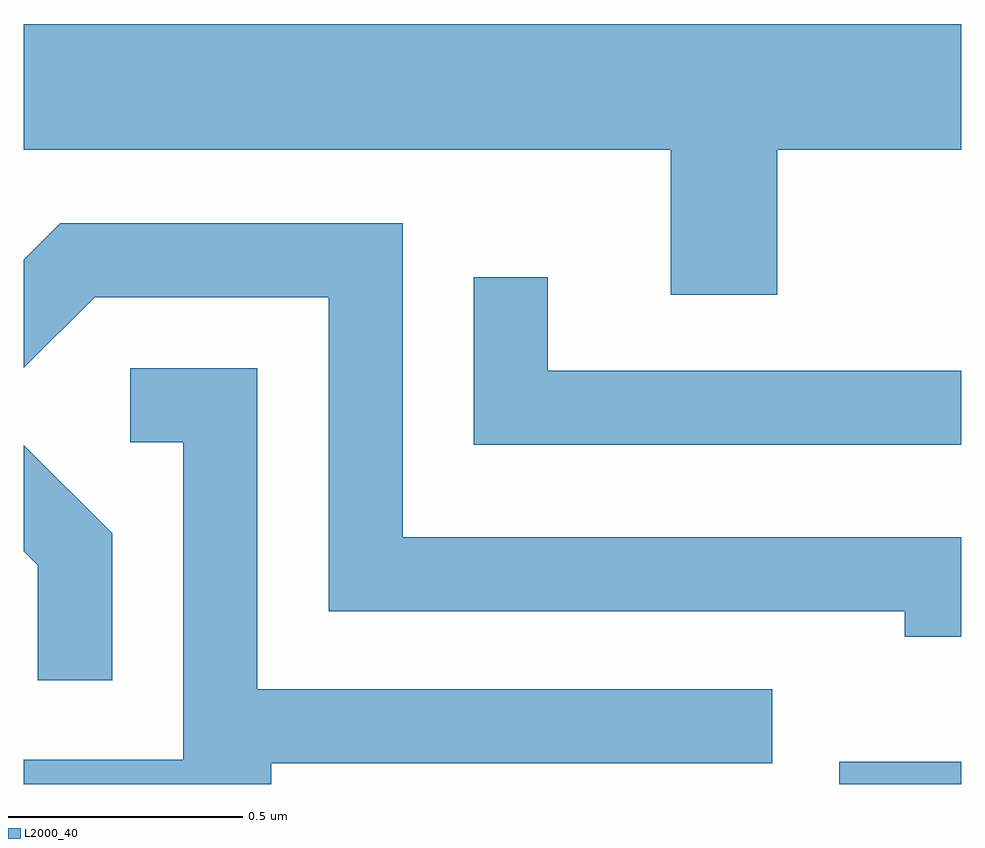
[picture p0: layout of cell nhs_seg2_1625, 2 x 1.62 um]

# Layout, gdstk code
import gdstk
lib = gdstk.Library(unit=1e-6, precision=1e-09)
def R(c, l, rs):  # rectangles x0, y0, x1, y1
    for r in rs: c.add(gdstk.rectangle(r[:2], r[2:], *l))
def P(c, l, *ps):  # polygons
    for p in ps: c.add(gdstk.Polygon(p, *l))
L2000_40 = (2000, 40)

nhs_seg2_1625 = lib.new_cell('nhs_seg2_1625')
R(nhs_seg2_1625, L2000_40, [(198.351,1095.802,198.611,1095.849)])
P(nhs_seg2_1625, L2000_40, [(198.219,1097.156),(198.611,1097.156),(198.611,1097.424),(196.611,1097.424),(196.611,1097.156),(197.991,1097.156),(197.991,1096.846),(198.219,1096.846)],
  [(198.611,1096.329),(197.419,1096.329),(197.419,1096.999),(196.689,1096.999),(196.611,1096.921),(196.611,1096.69),(196.762,1096.841),(197.261,1096.841),(197.261,1096.171),(198.491,1096.171),(198.491,1096.116),(198.611,1096.116)],
  [(198.611,1096.684),(197.729,1096.684),(197.729,1096.883),(197.571,1096.883),(197.571,1096.526),(198.611,1096.526)],
  [(197.139,1095.846),(198.208,1095.846),(198.208,1096.004),(197.109,1096.004),(197.109,1096.689),(196.838,1096.689),(196.838,1096.531),(196.951,1096.531),(196.951,1095.854),(196.611,1095.854),(196.611,1095.802),(197.139,1095.802)],
  [(196.799,1096.337),(196.611,1096.525),(196.611,1096.299),(196.641,1096.269),(196.641,1096.023),(196.799,1096.023)])

lib.write_gds('nhs_seg2_1625.gds')
